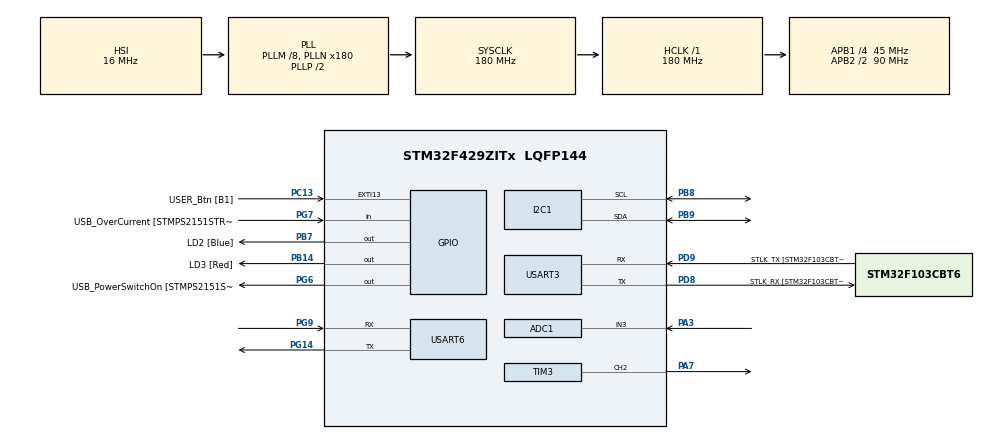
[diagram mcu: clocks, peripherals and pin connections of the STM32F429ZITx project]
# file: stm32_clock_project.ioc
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ADC1.Channel-0\#ChannelRegularConversion=ADC_CHANNEL_3
ADC1.DiscontinuousConvMode=DISABLE
ADC1.ExternalTrigConv=ADC_SOFTWARE_START
ADC1.ExternalTrigConvEdge=ADC_EXTERNALTRIGCONVEDGE_NONE
ADC1.NbrOfConversionFlag=1
ADC1.Rank-0\#ChannelRegularConversion=1
ADC1.SamplingTime-0\#ChannelRegularConversion=ADC_SAMPLETIME_3CYCLES
ADC1.ScanConvMode=DISABLE
ADC1.master=1
Mcu.Family=STM32F4
Mcu.Name=STM32F429ZITx
Mcu.Package=LQFP144
NVIC.EXTI15_10_IRQn=true\:0\:0\:false\:true\:true\:1\:true\:true
NVIC.PriorityGroup=NVIC_PRIORITYGROUP_4
NVIC.TIM2_IRQn=true\:0\:0\:false\:true\:true\:2\:true\:true
NVIC.TIM4_IRQn=true\:0\:0\:false\:true\:true\:3\:true\:true
NVIC.USART3_IRQn=true\:0\:0\:false\:true\:true\:5\:true\:true
NVIC.USART6_IRQn=true\:0\:0\:false\:true\:true\:4\:true\:true
PA1.GPIO_Label=RMII_REF_CLK [LAN8742A-CZ-TR_REFCLK0]
PA1.Signal=ETH_REF_CLK
PA10.GPIO_Label=USB_ID
PA10.Signal=USB_OTG_FS_ID
PA11.GPIO_Label=USB_DM
PA11.Signal=USB_OTG_FS_DM
PA12.GPIO_Label=USB_DP
PA12.Signal=USB_OTG_FS_DP
PA13.GPIO_Label=TMS
PA13.Mode=Serial_Wire
PA13.Signal=SYS_JTMS-SWDIO
PA14.GPIO_Label=TCK
PA14.Mode=Serial_Wire
PA14.Signal=SYS_JTCK-SWCLK
PA2.GPIO_Label=RMII_MDIO [LAN8742A-CZ-TR_MDIO]
PA2.Signal=ETH_MDIO
PA3.Signal=ADCx_IN3
PA7.Signal=S_TIM3_CH2
PA8.GPIO_Label=USB_SOF [TP1]
PA8.Signal=USB_OTG_FS_SOF
PA9.GPIO_Label=USB_VBUS
PA9.Signal=USB_OTG_FS_VBUS
PB0.Signal=S_TIM3_CH3
PB13.GPIO_Label=RMII_TXD1 [LAN8742A-CZ-TR_TXD1]
PB13.Signal=ETH_TXD1
PB14.GPIO_Label=LD3 [Red]
PB14.Signal=GPIO_Output
PB7.GPIO_Label=LD2 [Blue]
PB7.Signal=GPIO_Output
PB8.GPIO_Pu=GPIO_PULLUP
PB8.Mode=I2C
PB8.Signal=I2C1_SCL
PB9.GPIO_Pu=GPIO_PULLUP
PB9.Mode=I2C
PB9.Signal=I2C1_SDA
PC1.GPIO_Label=RMII_MDC [LAN8742A-CZ-TR_MDC]
PC1.Signal=ETH_MDC
PC13.GPIO_Label=USER_Btn [B1]
PC13.GPIO_ModeDefaultEXTI=GPIO_MODE_IT_RISING_FALLING
PC13.Signal=GPXTI13
PC14/OSC32_IN.Mode=LSE-External-Oscillator
PC14/OSC32_IN.Signal=RCC_OSC32_IN
PC15/OSC32_OUT.Mode=LSE-External-Oscillator
PC15/OSC32_OUT.Signal=RCC_OSC32_OUT
PC4.GPIO_Label=RMII_RXD0 [LAN8742A-CZ-TR_RXD0]
PC4.Signal=ETH_RXD0
PC5.GPIO_Label=RMII_RXD1 [LAN8742A-CZ-TR_RXD1]
PC5.Signal=ETH_RXD1
PD8.GPIO_Label=STLK_RX [STM32F103CBT6_PA3]
PD8.Mode=Asynchronous
PD8.Signal=USART3_TX
PD9.GPIO_Label=STLK_TX [STM32F103CBT6_PA2]
PD9.Mode=Asynchronous
PD9.Signal=USART3_RX
PG11.GPIO_Label=RMII_TX_EN [LAN8742A-CZ-TR_TXEN]
PG11.Signal=ETH_TX_EN
PG13.GPIO_Label=RMII_TXD0 [LAN8742A-CZ-TR_TXD0]
PG13.Signal=ETH_TXD0
PG14.Mode=Asynchronous
PG14.Signal=USART6_TX
PG6.GPIO_Label=USB_PowerSwitchOn [STMPS2151STR_EN]
PG6.Signal=GPIO_Output
PG7.GPIO_Label=USB_OverCurrent [STMPS2151STR_FAULT]
PG7.Signal=GPIO_Input
PG9.Mode=Asynchronous
PG9.Signal=USART6_RX
PH0/OSC_IN.GPIO_Label=MCO [STM32F103CBT6_PA8]
PH0/OSC_IN.Mode=HSE-External-Clock-Source
PH0/OSC_IN.Signal=RCC_OSC_IN
PH1/OSC_OUT.Mode=HSE-External-Clock-Source
PH1/OSC_OUT.Signal=RCC_OSC_OUT
ProjectManager.HeapSize=0x200
ProjectManager.StackSize=0x400
ProjectManager.TargetToolchain=STM32CubeIDE
RCC.48MHZClocksFreq_Value=51428571.428571425
RCC.AHBFreq_Value=180000000
RCC.APB1CLKDivider=RCC_HCLK_DIV4
RCC.APB1Freq_Value=45000000
RCC.APB1TimFreq_Value=90000000
RCC.APB2CLKDivider=RCC_HCLK_DIV2
RCC.APB2Freq_Value=90000000
RCC.APB2TimCLKDivider=2
RCC.APB2TimFreq_Value=180000000
RCC.CortexFreq_Value=180000000
RCC.HCLKFreq_Value=180000000
RCC.HSE_VALUE=8000000
RCC.HSI_VALUE=16000000
RCC.PLLM=8
RCC.PLLMUL=RCC_PLL_MUL9
RCC.PLLN=180
RCC.PLLQ=7
RCC.PRESCALERUSB=RCC_USBCLKSOURCE_PLL_DIV1_5
RCC.RCC_RTC_Clock_Source=RCC_RTCCLKSOURCE_LSE
RCC.RCC_RTC_Clock_SourceVirtual=RCC_RTCCLKSOURCE_LSE
RCC.SYSCLKFreq_VALUE=180000000
RCC.SYSCLKSource=RCC_SYSCLKSOURCE_PLLCLK
RCC.SYSCLKSourceVirtual=RCC_SYSCLKSOURCE_PLLCLK
RCC.USBFreq_Value=48000000
RCC.VCOOutputFreq_Value=360000000
SH.ADCx_IN3.0=ADC1_IN3,IN3
SH.S_TIM3_CH2.0=TIM3_CH2,PWM Generation2 CH2
SH.S_TIM3_CH3.0=TIM3_CH3
TIM2.Period=1000
TIM2.Prescaler=900
TIM3.AutoReloadPreload=TIM_AUTORELOAD_PRELOAD_ENABLE
TIM3.Channel-PWM\ Generation2\ CH2=TIM_CHANNEL_2
TIM3.Period=200-1
TIM3.Prescaler=90-1
TIM4.Period=200
TIM4.Prescaler=9000
USART3.VirtualMode=VM_ASYNC
USART6.VirtualMode=VM_ASYNC
VP_RTC_VS_RTC_Activate.Mode=RTC_Enabled
VP_TIM2_VS_ClockSourceINT.Mode=Internal
VP_TIM3_VS_ClockSourceINT.Mode=Internal
VP_TIM4_VS_ClockSourceINT.Mode=Internal
board=NUCLEO-F429ZI

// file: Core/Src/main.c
/* USER CODE BEGIN Header */
/**
  ******************************************************************************
  * @file           : main.c
  * @brief          : Main program body
  ******************************************************************************
  * @attention
  *
  * Copyright (c) 2022 STMicroelectronics.
  * All rights reserved.
  *
  * This software is licensed under terms that can be found in the LICENSE file
  * in the root directory of this software component.
  * If no LICENSE file comes with this software, it is provided AS-IS.
  *
  ******************************************************************************
  */
/* USER CODE END Header */
#include "main.h"

/* USER CODE BEGIN Includes */
#include <stdio.h>
#include <string.h>
#include "lcd.h"
#include "key_interval_main.h"
#include "key_value_main.h"
#include "music.h"
/* USER CODE END Includes */

/* USER CODE BEGIN PTD */
typedef struct{
	int8_t hours;
	int8_t minutes;
	int8_t seconds;
}TimeTypeDef;

typedef struct{
  int32_t time;
  GPIO_PinState level;
}ClickInfoDef;

/* USER CODE END PTD */

/* USER CODE BEGIN PD */
enum CLOCK_MODE{
	NORMAL_STATE,
	TIME_SETTING,
	ALARM_TIME_SETTING,
	MUSIC_SELECT
};

enum CLOCK_BUTTON{
	UP,
	DOWN,
	RIGHT,
	LEFT,
	NO_KEY
};

struct clock_state{
	enum CLOCK_MODE mode;
	enum CLOCK_BUTTON button;
	uint8_t music_num;
};

struct clock_state current_state;

/* Base address of the Flash sectors Bank 1 */
#define ADDR_FLASH_SECTOR_0     ((uint32_t)0x08000000) /* Base @ of Sector 0, 16 Kbytes */
#define ADDR_FLASH_SECTOR_1     ((uint32_t)0x08004000) /* Base @ of Sector 1, 16 Kbytes */
#define ADDR_FLASH_SECTOR_2     ((uint32_t)0x08008000) /* Base @ of Sector 2, 16 Kbytes */
#define ADDR_FLASH_SECTOR_3     ((uint32_t)0x0800C000) /* Base @ of Sector 3, 16 Kbytes */
#define ADDR_FLASH_SECTOR_4     ((uint32_t)0x08010000) /* Base @ of Sector 4, 64 Kbytes */
#define ADDR_FLASH_SECTOR_5     ((uint32_t)0x08020000) /* Base @ of Sector 5, 128 Kbytes */
#define ADDR_FLASH_SECTOR_6     ((uint32_t)0x08040000) /* Base @ of Sector 6, 128 Kbytes */
#define ADDR_FLASH_SECTOR_7     ((uint32_t)0x08060000) /* Base @ of Sector 7, 128 Kbytes */
#define ADDR_FLASH_SECTOR_8     ((uint32_t)0x08080000) /* Base @ of Sector 8, 128 Kbytes */
#define ADDR_FLASH_SECTOR_9     ((uint32_t)0x080A0000) /* Base @ of Sector 9, 128 Kbytes */
#define ADDR_FLASH_SECTOR_10    ((uint32_t)0x080C0000) /* Base @ of Sector 10, 128 Kbytes */
#define ADDR_FLASH_SECTOR_11    ((uint32_t)0x080E0000) /* Base @ of Sector 11, 128 Kbytes */

/* Base address of the Flash sectors Bank 2 */
#define ADDR_FLASH_SECTOR_12     ((uint32_t)0x08100000) /* Base @ of Sector 0, 16 Kbytes */
#define ADDR_FLASH_SECTOR_13     ((uint32_t)0x08104000) /* Base @ of Sector 1, 16 Kbytes */
#define ADDR_FLASH_SECTOR_14     ((uint32_t)0x08108000) /* Base @ of Sector 2, 16 Kbytes */
#define ADDR_FLASH_SECTOR_15     ((uint32_t)0x0810C000) /* Base @ of Sector 3, 16 Kbytes */
#define ADDR_FLASH_SECTOR_16     ((uint32_t)0x08110000) /* Base @ of Sector 4, 64 Kbytes */
#define ADDR_FLASH_SECTOR_17     ((uint32_t)0x08120000) /* Base @ of Sector 5, 128 Kbytes */
#define ADDR_FLASH_SECTOR_18     ((uint32_t)0x08140000) /* Base @ of Sector 6, 128 Kbytes */
#define ADDR_FLASH_SECTOR_19     ((uint32_t)0x08160000) /* Base @ of Sector 7, 128 Kbytes */
#define ADDR_FLASH_SECTOR_20     ((uint32_t)0x08180000) /* Base @ of Sector 8, 128 Kbytes  */
#define ADDR_FLASH_SECTOR_21     ((uint32_t)0x081A0000) /* Base @ of Sector 9, 128 Kbytes  */
#define ADDR_FLASH_SECTOR_22     ((uint32_t)0x081C0000) /* Base @ of Sector 10, 128 Kbytes */
#define ADDR_FLASH_SECTOR_23     ((uint32_t)0x081E0000) /* Base @ of Sector 11, 128 Kbytes */

#define MAGIC_NUM 0xdeadbeef

typedef struct {
  uint32_t magic_num;
  TimeTypeDef setting_time;
  TimeTypeDef alarm_time;
  int8_t alarm_music_num;
}NVitemTypeDef;

#define nv_items  ((NVitemTypeDef *) ADDR_FLASH_SECTOR_23)

NVitemTypeDef default_nvitem =
{
  MAGIC_NUM,
  {0,0,0},
  {0,0,0},
  0
};

MusicTypeDef alarm_music[] =
{
  {0,"School bell  "},
  {1,"Beep         "},
  {2,"Airplane  "},
};

#define MEL_NUM	24

uint8_t musicOn = 0;

_BUZZER schoolBell[MEL_NUM] = {
		{G, 1}, {G, 1}, {A, 1}, {A, 1}, // 4
		{G, 1}, {G, 1}, {E, 2}, // 3
		{G, 1}, {G, 1}, {E, 1}, {E, 1}, {D, 3}, // 5
		{G, 1}, {G, 1}, {A, 1}, {A, 1}, // 4
		{G, 1}, {G, 1}, {E, 2}, // 3
		{G, 1}, {E, 1}, {D, 1}, {E, 1}, {C, 3} // 5
};

_BUZZER beep[MEL_NUM] = {
		{A, 3}, {A, 3}, {A, 3}, {A, 3}, // 4
		{A, 3}, {A, 3}, {A, 3}, // 3
		{A, 3}, {A, 3}, {A, 3}, {A, 3}, {A, 3}, // 5
		{A, 3}, {A, 3}, {A, 3}, {A, 3}, // 4
		{A, 3}, {A, 3}, {A, 3}, // 3
		{A, 3}, {A, 3}, {A, 3}, {A, 3}, {A, 3} // 5
};

_BUZZER airplane[MEL_NUM + 1] = {
		{E, 1}, {D, 1}, {C, 1}, {D, 1}, // 4
		{E, 1}, {E, 1}, {E, 2}, // 3
		{D, 1}, {D, 1}, {D, 2}, {E, 1}, {E, 1}, // 5
		{E, 2}, {E, 1}, {D, 1}, {C, 1}, // 4
		{D, 1}, {E, 1}, {E, 1}, // 3
		{E, 2}, {D, 1}, {D, 1}, {E, 1}, {D, 1}, {C, 4} // 6
};
/* USER CODE END PD */

ADC_HandleTypeDef hadc1;

I2C_HandleTypeDef hi2c1;

RTC_HandleTypeDef hrtc;

TIM_HandleTypeDef htim2;
TIM_HandleTypeDef htim3;
TIM_HandleTypeDef htim4;

UART_HandleTypeDef huart3;
UART_HandleTypeDef huart6;

void SystemClock_Config(void);
static void MX_GPIO_Init(void);
static void MX_USART3_UART_Init(void);
static void MX_RTC_Init(void);
static void MX_I2C1_Init(void);
static void MX_ADC1_Init(void);
static void MX_TIM2_Init(void);
static void MX_TIM3_Init(void);
static void MX_TIM4_Init(void);
static void MX_USART6_UART_Init(void);
static void MX_NVIC_Init(void);
/* USER CODE BEGIN PFP */
void MUSIC_Play(_BUZZER music[]);
void ALARM_Check();
/* USER CODE END PFP */

/* USER CODE BEGIN 0 */
#ifdef __GNUC__
  /* With GCC, small printf (option LD Linker->Libraries->Small printf
     set to 'Yes') calls __io_putchar() */
  #define PUTCHAR_PROTOTYPE int __io_putchar(int ch)
#else
  #define PUTCHAR_PROTOTYPE int fputc(int ch, FILE *f)
#endif /* __GNUC__ */

ClickInfoDef click[3];  //pc13 use button history save
TimeTypeDef ctime;  //current time
TimeTypeDef stime = {0,0,0};  //set time
TimeTypeDef atime = {0,0,0};  //alarm time
char ampm[3] = {'A','M'};  //AM, PM
uint8_t alFlag = 0;  //Alarm on/off
int8_t position = 0;  //Time setting cursor position
uint8_t seq = 0;  //Music play 음표
uint8_t stop = 0;  //음악 재생시 음과 음 사이 구분
int8_t pos = 0;  //music select menu position
uint8_t key_value;  //bluetooth signal receive
volatile int timer_count;
uint32_t ADC_value;  //ADC button value get
uint32_t last_time,current_time,time_interval, last_time_interval;  //pc13 user button separate select, double click, long key

HAL_StatusTypeDef update_nvitems()  //Flash rom save
{
	uint32_t FirstSector,NbOfSectors,SECTORError;
	FLASH_EraseInitTypeDef EraseInitStruct;
	HAL_StatusTypeDef error= HAL_OK;
    uint32_t Address,i;
    uint64_t Data;
    uint8_t *ptr;

	HAL_FLASH_Unlock();
	FirstSector = FLASH_SECTOR_23;
	NbOfSectors = 1;

	EraseInitStruct.TypeErase     = FLASH_TYPEERASE_SECTORS;
	EraseInitStruct.VoltageRange  = FLASH_VOLTAGE_RANGE_3;
	EraseInitStruct.Sector        = FirstSector;
	EraseInitStruct.NbSectors     = NbOfSectors;

	error = HAL_FLASHEx_Erase(&EraseInitStruct, &SECTORError);
	if(error != HAL_OK)
	{
		return error;
	}

	ptr = (uint8_t*)&default_nvitem;

	for(i=0;i<sizeof(NVitemTypeDef);i++)
	{
		Address = (uint8_t*)nv_items + i;
		Data = *((uint8_t*)ptr+ i);
		error =	HAL_FLASH_Program(FLASH_TYPEPROGRAM_BYTE,Address,Data);
		if(error != HAL_OK)
		{
			return error;
		}
	}

	HAL_FLASH_Lock();
}

void _60_Cvt(TimeTypeDef* time)  //Time converter
{
	if(time->seconds > 59)
	{
		time->minutes++;
		time->seconds = 0;
	}
	else if(time->seconds < 0)
	{
		time->minutes--;
		time->seconds = 59;
	}

	if(time->minutes > 59)
	{
		time->hours++;
		time->minutes = 0;
	}
	else if(time->minutes < 0)
	{
		time->hours--;
		time->minutes = 59;
	}

	if(time->hours > 23)
	{
		time->hours = 0;
	}
	else if(time->hours < 0)
	{
		time->hours = 23;
	}

	if(time->hours < 12)
	{
		ampm[0] = 'A';
	}
	else if(time->hours >= 12)
	{
		ampm[0] = 'P';
	}
}

void HAL_TIM_PeriodElapsedCallback(TIM_HandleTypeDef *htim)
{
	if(htim->Instance == TIM2)  //time ++
	{
		if((timer_count % 100) == 0)
		{
			ctime.seconds++;
			_60_Cvt(&ctime);
		}
		timer_count++;
	}

	ALARM_Check();

	if(htim->Instance == TIM4)  //music play
	{
		if(alFlag == 1 && musicOn == 1)
		{
			switch(default_nvitem.alarm_music_num)
			{
			case 0:
				MUSIC_Play(schoolBell);
				break;
			case 1:
				MUSIC_Play(beep);
				break;
			case 2:
				MUSIC_Play(airplane);
				break;
			default:
				break;
			}
		}
	}

}

void Select_Key()  //Select operate
{
	if(current_state.mode == NORMAL_STATE)
	{
		if(musicOn == 0) current_state.mode = TIME_SETTING;
		else
		{
			musicOn = 0;
			seq = 0;
			stop = 0;
			HAL_TIM_PWM_Stop(&htim3, TIM_CHANNEL_2);
		}
	}

	else
	{
		if(current_state.mode == TIME_SETTING)
		{
			memcpy(&default_nvitem.setting_time, &stime, sizeof(TimeTypeDef));
			update_nvitems();
			memcpy(&ctime, &default_nvitem.setting_time, sizeof(TimeTypeDef));
			position = 0;
			current_state.mode = NORMAL_STATE;
		}
		if(current_state.mode == ALARM_TIME_SETTING)
		{
			memcpy(&default_nvitem.alarm_time, &atime, sizeof(TimeTypeDef));
			update_nvitems();
			position = 0;
			current_state.mode = NORMAL_STATE;
		}
		if(current_state.mode == MUSIC_SELECT)
		{

			memcpy(&default_nvitem.alarm_music_num, &alarm_music[pos].music_num, sizeof(uint8_t));
			update_nvitems();
			current_state.mode = NORMAL_STATE;
		}
	}
}
void Long_Key()  //Long key operate
{
	if(current_state.mode == NORMAL_STATE)
	{
		alFlag = 1;
		current_state.mode = ALARM_TIME_SETTING;
	}
}
void Double_Click()  //Double click operate
{
	if(current_state.mode == NORMAL_STATE)
	{
		current_state.mode = MUSIC_SELECT;
	}
	if(current_state.mode == ALARM_TIME_SETTING)
	{
		if(alFlag == 0)	alFlag = 1;
		else if(alFlag == 1) alFlag = 0;
	}
	if(current_state.mode == TIME_SETTING)
	{
		current_state.mode = NORMAL_STATE;
	}
}

void HAL_GPIO_EXTI_Callback(uint16_t GPIO_Pin)  //User key
{
	GPIO_PinState pin;
	int i;

	if(GPIO_Pin == GPIO_PIN_13)
	{
		current_time = HAL_GetTick();
		time_interval = current_time - last_time;
		last_time = current_time;

		pin = HAL_GPIO_ReadPin(GPIOC,GPIO_PIN_13);

		//printf("<%d,%d>\r\n",pin,time_interval);

		if(time_interval <= 2) // noise
		{
			//printf("Noise %d,%d\r\n",pin,time_interval);
		}
		else
		{
			click[2].time = click[1].time;
			click[2].level = click[1].level;

			click[1].time = click[0].time;
			click[1].level = click[0].level;

			click[0].time = time_interval;
			click[0].level = pin;

			if(click[2].level == GPIO_PIN_RESET && click[1].level == GPIO_PIN_SET &&  click[0].level ==GPIO_PIN_RESET)
			{
				for(i=0;i<3;i++)
				{
					if(click[i].time>= DOUBLE_CLICK_MIN && click[i].time <= DOUBLE_CLICK_MAX)
					{
						continue;
					}
					else
						break;
				}
				if(i==3)
				{
					Double_Click();
					//printf("Double Click\r\n");
				}
			}

			if(click[0].level == GPIO_PIN_RESET && click[0].time >=LONG_CLICK_MIN) // long click
			{
				Long_Key();
				//printf("Long Key\r\n");
			}
			if(click[0].level == GPIO_PIN_RESET && click[0].time < LONG_CLICK_MIN && click[0].time > DOUBLE_CLICK_MAX)
			{
				Select_Key();
				//printf("Select Key, %d\r\n",click[0].time);
			}
		}
	}
}

void LCD_Blink(TimeTypeDef* time, char str[17])  //Setting mode blink
{
	static int8_t blinkFlag = 0;
	static volatile int old_timer_count;

	if(timer_count - old_timer_count > 40)
	{
		if(blinkFlag == 0) blinkFlag = 1;
		else if(blinkFlag == 1) blinkFlag = 0;
		old_timer_count = timer_count;
	}

	_60_Cvt(time);

	if(current_state.mode == TIME_SETTING || (current_state.mode == ALARM_TIME_SETTING && alFlag == 0))
	{
		if(time->hours <= 12)
		{
			if(blinkFlag == 0) sprintf(str,"%s %02d:%02d:%02d     ", ampm, time->hours, time->minutes, time->seconds);
			else if (blinkFlag == 1)
			{
				if(position == 0) sprintf(str,"__ %02d:%02d:%02d     ",time->hours, time->minutes, time->seconds);
				else if(position == 1) sprintf(str,"%s __:%02d:%02d     ", ampm, time->minutes, time->seconds);
				else if(position == 2) sprintf(str,"%s %02d:__:%02d     ", ampm, time->hours, time->seconds);
				else if(position == 3) sprintf(str,"%s %02d:%02d:__     ", ampm, time->hours, time->minutes);
			}
		}
		else if(time->hours > 12)
		{
			if(blinkFlag == 0) sprintf(str,"%s %02d:%02d:%02d     ", ampm, time->hours-12, time->minutes, time->seconds);
			else if (blinkFlag == 1)
			{
				if(position == 0) sprintf(str,"__ %02d:%02d:%02d     ",time->hours-12, time->minutes, time->seconds);
				else if(position == 1) sprintf(str,"%s __:%02d:%02d     ", ampm, time->minutes, time->seconds);
				else if(position == 2) sprintf(str,"%s %02d:__:%02d     ", ampm, time->hours-12, time->seconds);
				else if(position == 3) sprintf(str,"%s %02d:%02d:__     ", ampm, time->hours-12, time->minutes);
			}
		}
	}

	else if(current_state.mode == ALARM_TIME_SETTING && alFlag == 1)
	{
		if(time->hours <= 12)
		{
			if(blinkFlag == 0) sprintf(str,"%s %02d:%02d:%02d AL", ampm, time->hours, time->minutes, time->seconds);
			else if (blinkFlag == 1)
			{
				if(position == 0) sprintf(str,"__ %02d:%02d:%02d AL",time->hours, time->minutes, time->seconds);
				else if(position == 1) sprintf(str,"%s __:%02d:%02d AL", ampm, time->minutes, time->seconds);
				else if(position == 2) sprintf(str,"%s %02d:__:%02d AL", ampm, time->hours, time->seconds);
				else if(position == 3) sprintf(str,"%s %02d:%02d:__ AL", ampm, time->hours, time->minutes);
			}
		}
		else if(time->hours > 12)
		{
			if(blinkFlag == 0) sprintf(str,"%s %02d:%02d:%02d AL", ampm, time->hours-12, time->minutes, time->seconds);
			else if (blinkFlag == 1)
			{
				if(position == 0) sprintf(str,"__ %02d:%02d:%02d AL",time->hours-12, time->minutes, time->seconds);
				else if(position == 1) sprintf(str,"%s __:%02d:%02d AL", ampm, time->minutes, time->seconds);
				else if(position == 2) sprintf(str,"%s %02d:__:%02d AL", ampm, time->hours-12, time->seconds);
				else if(position == 3) sprintf(str,"%s %02d:%02d:__ AL", ampm, time->hours-12, time->minutes);
			}
		}
	}
}

void TIME_Setting(TimeTypeDef* time, char str[17])  //Settin mode
{
	switch(current_state.button)  //ADC button operate
	{
	case UP:
		if(position == 0)
		{
			if(time->hours < 12) time->hours += 12;
			else time->hours -= 12;
		}
		if(position == 1) time->hours++;
		if(position == 2) time->minutes++;
		if(position == 3) time->seconds++;
		break;
	case DOWN:
		if(position == 0)
		{
			if(time->hours < 12) time->hours += 12;
			else time->hours -= 12;
		}
		if(position == 1) time->hours--;
		if(position == 2) time->minutes--;
		if(position == 3) time->seconds--;
		break;
	case LEFT:
		position--;
		if(position < 0) position = 3;
		break;
	case RIGHT:
		position++;
		if(position > 3) position = 0;
		break;
	default:
		current_state.button = NO_KEY;
		break;
	}

	if(current_state.mode == TIME_SETTING || current_state.mode == ALARM_TIME_SETTING)
	{
		LCD_Blink(time, str);
	}
}

void MUSIC_Select(char line1[17], char line2[17])  //Music select mode
{
	uint8_t count;

	pos = current_state.music_num;
	count = sizeof(alarm_music)/sizeof(alarm_music[0]);  //total music count

	switch(current_state.button)
	{
	case UP:
		pos++;
		if(pos == count)
		{
			pos = 0;
		}
		break;
	case DOWN:
		pos--;
		if(pos < 0)
		{
			pos = count - 1;
		}
		break;
	default:

		break;
	}
	current_state.music_num =  pos;

	if(pos <= count-2)
	{
		sprintf(line1,"%s <<",alarm_music[pos].music_title);  // "<" mark is selected music title
		sprintf(line2,"%s   ",alarm_music[pos+1].music_title);
	}
	else
	{
		sprintf(line1,"%s   ",alarm_music[pos].music_title);
		sprintf(line2,"%s   ",alarm_music[0].music_title);
	}
}

void _12_Cvt(TimeTypeDef* time, char str[17])  //12시제 컨버터
{
	if(alFlag == 0)
	{
		if(time->hours <= 12)
		{
			sprintf(str,"%s %02d:%02d:%02d     ",ampm, time->hours, time->minutes, time->seconds);
		}
		else if(time->hours > 12)
		{
			sprintf(str,"%s %02d:%02d:%02d     ",ampm, time->hours-12, time->minutes, time->seconds);
		}
	}
	else if(alFlag == 1)
	{
		if(time->hours <= 12)
		{
			sprintf(str,"%s %02d:%02d:%02d AL",ampm, time->hours, time->minutes, time->seconds);
		}
		else if(time->hours > 12)
		{
			sprintf(str,"%s %02d:%02d:%02d AL",ampm, time->hours-12, time->minutes, time->seconds);
		}
	}
}

void LCD_Display()  //Display
{
	char time_str[17];
	char mode_str[17];

	switch(current_state.mode)
	{
	case NORMAL_STATE:
		_12_Cvt(&ctime, time_str);
		sprintf(mode_str,"LEE ALARM CLOCK ");
		break;
	case TIME_SETTING:
		sprintf(mode_str,"TIME SET MODE   ");
		TIME_Setting(&stime, time_str);
		break;
	case ALARM_TIME_SETTING:
		sprintf(mode_str,"ALARM SET MODE  ");
		TIME_Setting(&atime, time_str);
		break;
	case MUSIC_SELECT:
		MUSIC_Select(mode_str, time_str);
		break;
	default:
		current_state.mode = NORMAL_STATE;
		break;
	}
	LCD_Print(0, mode_str);
	LCD_Print(1, time_str);
}

void ADC_Button()  //ADC button operate
{
	HAL_ADC_Start(&hadc1);
	if(HAL_ADC_PollForConversion(&hadc1,20) == HAL_OK) ADC_value = HAL_ADC_GetValue(&hadc1);
	if(ADC_value <= UP_KEY_MAX || key_value == 1)
	{
		current_state.button = UP;
		key_value = 0;
		//printf("UP\r\n");
	}
	else if((ADC_value>= DOWN_KEY_MIN && ADC_value<=DOWN_KEY_MAX) || key_value == 2)
	{
		current_state.button = DOWN;
		key_value = 0;
		//printf("DOWN\r\n");
	}
	else if((ADC_value>= LEFT_KEY_MIN && ADC_value<=LEFT_KEY_MAX) || key_value == 3)
    {
    	current_state.button = LEFT;
    	key_value = 0;
    	//printf("LEFT\r\n");
    }
	else if((ADC_value>= RIGHT_KEY_MIN && ADC_value<=RIGHT_KEY_MAX) || key_value == 4)
    {
    	current_state.button = RIGHT;
    	key_value = 0;
    	//printf("RIGHT\r\n");
    }
	else
	{
		current_state.button = NO_KEY;
	}
}

void TIME_Init()  //Time initiate
{
	if(nv_items->magic_num == MAGIC_NUM) //
	{
		memcpy(&default_nvitem,nv_items,sizeof(NVitemTypeDef));
	    ctime.hours = default_nvitem.setting_time.hours;
		ctime.minutes = default_nvitem.setting_time.minutes;
		ctime.seconds = default_nvitem.setting_time.seconds;

	    stime.hours = default_nvitem.setting_time.hours;
		stime.minutes = default_nvitem.setting_time.minutes;
		stime.seconds = default_nvitem.setting_time.seconds;

	    atime.hours = default_nvitem.alarm_time.hours;
		atime.minutes = default_nvitem.alarm_time.minutes;
		atime.seconds = default_nvitem.alarm_time.seconds;

		current_state.mode = NORMAL_STATE;
	}
	else
	{
		current_state.mode = TIME_SETTING;
	}
	_60_Cvt(&ctime);
}

void MUSIC_Play(_BUZZER music[])  //Play music
{
	uint16_t melody = (uint16_t)(1000000 / music[seq].freq);
	uint8_t num = 0;

	if(default_nvitem.alarm_music_num == 0) num = MEL_NUM;
	else if(default_nvitem.alarm_music_num == 1) num = MEL_NUM;
	else if(default_nvitem.alarm_music_num == 2) num = MEL_NUM+1;

	if(stop == 1)
	{
		TIM4->ARR = 2000;
		HAL_TIM_PWM_Stop(&htim3, TIM_CHANNEL_2);
		stop = 0;
	}
	else
	{
		if(seq == num)
		{
			seq = 0;
		}
		else
		{
			TIM3->ARR = melody;
			TIM3->CCR2 = melody / 2;
			TIM4->ARR = music[seq].delay * 2000;
			HAL_TIM_PWM_Start(&htim3, TIM_CHANNEL_2);
			stop = 1;

			seq++;
			HAL_GPIO_TogglePin(GPIOB, GPIO_PIN_7);
		}
	}
}

void ALARM_Check()  //Alarm check
{
	if(ctime.seconds == atime.seconds && ctime.minutes == atime.minutes && ctime.hours == atime.hours)
	{
		if(alFlag == 1) musicOn = 1;
	}
	HAL_UART_Transmit_IT(&huart6,(uint8_t*)&musicOn,sizeof(musicOn));
}

void BT_Button()  //bluetooth button operate (pc13 User button)
{
	if(key_value > 4)
	{
		switch(key_value)
		{
		case 5:
			Select_Key();
			break;
		case 6:
			Long_Key();
			break;
		case 7:
			Double_Click();
			break;
		case 8:
			Select_Key();
			break;
		case 9:
			Double_Click();
			break;
		case 10:
			if(musicOn == 1) Select_Key();
			break;
		default:
			break;
		}
		key_value = 0;
	}
}

void HAL_UART_RxCpltCallback(UART_HandleTypeDef *huart)
{
	if(huart->Instance == USART6)  //bluetooth signal get.(0 = no_key, 1~4 = ADC key, 5~10 = pc13 user button)
	{
		/* Receive one byte in interrupt mode */
		BT_Button();
		HAL_UART_Receive_IT(&huart6, &key_value, 1);
	}
}

/* USER CODE END 0 */

int main(void)
{

  /* MCU Configuration--------------------------------------------------------*/

  /* Reset of all peripherals, Initializes the Flash interface and the Systick. */
  HAL_Init();

  /* Configure the system clock */
  SystemClock_Config();

  /* Initialize all configured peripherals */
  MX_GPIO_Init();
  MX_USART3_UART_Init();
  MX_RTC_Init();
  MX_I2C1_Init();
  MX_ADC1_Init();
  MX_TIM2_Init();
  MX_TIM3_Init();
  MX_TIM4_Init();
  MX_USART6_UART_Init();

  /* Initialize interrupts */
  MX_NVIC_Init();
  /* USER CODE BEGIN 2 */
  HAL_TIM_Base_Init(&htim2);
  HAL_TIM_Base_Start_IT(&htim2);
  HAL_TIM_Base_Start_IT(&htim4);
  //HAL_TIM_PWM_Start(&htim3, TIM_CHANNEL_2);
  HAL_UART_Receive_IT(&huart6,&key_value,1);
  init();  //lcd initiate
  TIME_Init();

  /* USER CODE END 2 */

  /* Infinite loop */
  while (1)
  {

    /* USER CODE BEGIN 3 */
	  ADC_Button();
	  LCD_Display();

  }
  /* USER CODE END 3 */
}

void SystemClock_Config(void)
{
  RCC_OscInitTypeDef RCC_OscInitStruct = {0};
  RCC_ClkInitTypeDef RCC_ClkInitStruct = {0};

  /** Configure the main internal regulator output voltage
  */
  __HAL_RCC_PWR_CLK_ENABLE();
  __HAL_PWR_VOLTAGESCALING_CONFIG(PWR_REGULATOR_VOLTAGE_SCALE1);
  /** Initializes the RCC Oscillators according to the specified parameters
  * in the RCC_OscInitTypeDef structure.
  */
  RCC_OscInitStruct.OscillatorType = RCC_OSCILLATORTYPE_HSI|RCC_OSCILLATORTYPE_LSE;
  RCC_OscInitStruct.LSEState = RCC_LSE_ON;
  RCC_OscInitStruct.HSIState = RCC_HSI_ON;
  RCC_OscInitStruct.HSICalibrationValue = RCC_HSICALIBRATION_DEFAULT;
  RCC_OscInitStruct.PLL.PLLState = RCC_PLL_ON;
  RCC_OscInitStruct.PLL.PLLSource = RCC_PLLSOURCE_HSI;
  RCC_OscInitStruct.PLL.PLLM = 8;
  RCC_OscInitStruct.PLL.PLLN = 180;
  RCC_OscInitStruct.PLL.PLLP = RCC_PLLP_DIV2;
  RCC_OscInitStruct.PLL.PLLQ = 7;
  if (HAL_RCC_OscConfig(&RCC_OscInitStruct) != HAL_OK)
  {
    Error_Handler();
  }
  /** Activate the Over-Drive mode
  */
  if (HAL_PWREx_EnableOverDrive() != HAL_OK)
  {
    Error_Handler();
  }
  /** Initializes the CPU, AHB and APB buses clocks
  */
  RCC_ClkInitStruct.ClockType = RCC_CLOCKTYPE_HCLK|RCC_CLOCKTYPE_SYSCLK
                              |RCC_CLOCKTYPE_PCLK1|RCC_CLOCKTYPE_PCLK2;
  RCC_ClkInitStruct.SYSCLKSource = RCC_SYSCLKSOURCE_PLLCLK;
  RCC_ClkInitStruct.AHBCLKDivider = RCC_SYSCLK_DIV1;
  RCC_ClkInitStruct.APB1CLKDivider = RCC_HCLK_DIV4;
  RCC_ClkInitStruct.APB2CLKDivider = RCC_HCLK_DIV2;

  if (HAL_RCC_ClockConfig(&RCC_ClkInitStruct, FLASH_LATENCY_5) != HAL_OK)
  {
    Error_Handler();
  }
}

/**
  * @brief NVIC Configuration.
  * @retval None
  */
static void MX_NVIC_Init(void)
{
  /* EXTI15_10_IRQn interrupt configuration */
  HAL_NVIC_SetPriority(EXTI15_10_IRQn, 0, 0);
  HAL_NVIC_EnableIRQ(EXTI15_10_IRQn);
  /* TIM2_IRQn interrupt configuration */
  HAL_NVIC_SetPriority(TIM2_IRQn, 0, 0);
  HAL_NVIC_EnableIRQ(TIM2_IRQn);
  /* TIM4_IRQn interrupt configuration */
  HAL_NVIC_SetPriority(TIM4_IRQn, 0, 0);
  HAL_NVIC_EnableIRQ(TIM4_IRQn);
  /* USART6_IRQn interrupt configuration */
  HAL_NVIC_SetPriority(USART6_IRQn, 0, 0);
  HAL_NVIC_EnableIRQ(USART6_IRQn);
  /* USART3_IRQn interrupt configuration */
  HAL_NVIC_SetPriority(USART3_IRQn, 0, 0);
  HAL_NVIC_EnableIRQ(USART3_IRQn);
}

static void MX_ADC1_Init(void)
{

  ADC_ChannelConfTypeDef sConfig = {0};

  /** Configure the global features of the ADC (Clock, Resolution, Data Alignment and number of conversion)
  */
  hadc1.Instance = ADC1;
  hadc1.Init.ClockPrescaler = ADC_CLOCK_SYNC_PCLK_DIV4;
  hadc1.Init.Resolution = ADC_RESOLUTION_12B;
  hadc1.Init.ScanConvMode = DISABLE;
  hadc1.Init.ContinuousConvMode = DISABLE;
  hadc1.Init.DiscontinuousConvMode = DISABLE;
  hadc1.Init.ExternalTrigConvEdge = ADC_EXTERNALTRIGCONVEDGE_NONE;
  hadc1.Init.ExternalTrigConv = ADC_SOFTWARE_START;
  hadc1.Init.DataAlign = ADC_DATAALIGN_RIGHT;
  hadc1.Init.NbrOfConversion = 1;
  hadc1.Init.DMAContinuousRequests = DISABLE;
  hadc1.Init.EOCSelection = ADC_EOC_SINGLE_CONV;
  if (HAL_ADC_Init(&hadc1) != HAL_OK)
  {
    Error_Handler();
  }
  /** Configure for the selected ADC regular channel its corresponding rank in the sequencer and its sample time.
  */
  sConfig.Channel = ADC_CHANNEL_3;
  sConfig.Rank = 1;
  sConfig.SamplingTime = ADC_SAMPLETIME_3CYCLES;
  if (HAL_ADC_ConfigChannel(&hadc1, &sConfig) != HAL_OK)
  {
    Error_Handler();
  }

}

static void MX_I2C1_Init(void)
{

  hi2c1.Instance = I2C1;
  hi2c1.Init.ClockSpeed = 100000;
  hi2c1.Init.DutyCycle = I2C_DUTYCYCLE_2;
  hi2c1.Init.OwnAddress1 = 0;
  hi2c1.Init.AddressingMode = I2C_ADDRESSINGMODE_7BIT;
  hi2c1.Init.DualAddressMode = I2C_DUALADDRESS_DISABLE;
  hi2c1.Init.OwnAddress2 = 0;
  hi2c1.Init.GeneralCallMode = I2C_GENERALCALL_DISABLE;
  hi2c1.Init.NoStretchMode = I2C_NOSTRETCH_DISABLE;
  if (HAL_I2C_Init(&hi2c1) != HAL_OK)
  {
    Error_Handler();
  }
  /** Configure Analogue filter
  */
  if (HAL_I2CEx_ConfigAnalogFilter(&hi2c1, I2C_ANALOGFILTER_ENABLE) != HAL_OK)
  {
    Error_Handler();
  }
  /** Configure Digital filter
  */
  if (HAL_I2CEx_ConfigDigitalFilter(&hi2c1, 0) != HAL_OK)
  {
    Error_Handler();
  }

}

static void MX_RTC_Init(void)
{

  /** Initialize RTC Only
  */
  hrtc.Instance = RTC;
  hrtc.Init.HourFormat = RTC_HOURFORMAT_24;
  hrtc.Init.AsynchPrediv = 127;
  hrtc.Init.SynchPrediv = 255;
  hrtc.Init.OutPut = RTC_OUTPUT_DISABLE;
  hrtc.Init.OutPutPolarity = RTC_OUTPUT_POLARITY_HIGH;
  hrtc.Init.OutPutType = RTC_OUTPUT_TYPE_OPENDRAIN;
  if (HAL_RTC_Init(&hrtc) != HAL_OK)
  {
    Error_Handler();
  }

}

static void MX_TIM2_Init(void)
{

  TIM_ClockConfigTypeDef sClockSourceConfig = {0};
  TIM_MasterConfigTypeDef sMasterConfig = {0};

  htim2.Instance = TIM2;
  htim2.Init.Prescaler = 900;
  htim2.Init.CounterMode = TIM_COUNTERMODE_UP;
  htim2.Init.Period = 1000;
  htim2.Init.ClockDivision = TIM_CLOCKDIVISION_DIV1;
  htim2.Init.AutoReloadPreload = TIM_AUTORELOAD_PRELOAD_DISABLE;
  if (HAL_TIM_Base_Init(&htim2) != HAL_OK)
  {
    Error_Handler();
  }
  sClockSourceConfig.ClockSource = TIM_CLOCKSOURCE_INTERNAL;
  if (HAL_TIM_ConfigClockSource(&htim2, &sClockSourceConfig) != HAL_OK)
  {
    Error_Handler();
  }
  sMasterConfig.MasterOutputTrigger = TIM_TRGO_RESET;
  sMasterConfig.MasterSlaveMode = TIM_MASTERSLAVEMODE_DISABLE;
  if (HAL_TIMEx_MasterConfigSynchronization(&htim2, &sMasterConfig) != HAL_OK)
  {
    Error_Handler();
  }

}

static void MX_TIM3_Init(void)
{

  TIM_ClockConfigTypeDef sClockSourceConfig = {0};
  TIM_MasterConfigTypeDef sMasterConfig = {0};
  TIM_OC_InitTypeDef sConfigOC = {0};

  htim3.Instance = TIM3;
  htim3.Init.Prescaler = 90-1;
  htim3.Init.CounterMode = TIM_COUNTERMODE_UP;
  htim3.Init.Period = 200-1;
  htim3.Init.ClockDivision = TIM_CLOCKDIVISION_DIV1;
  htim3.Init.AutoReloadPreload = TIM_AUTORELOAD_PRELOAD_ENABLE;
  if (HAL_TIM_Base_Init(&htim3) != HAL_OK)
  {
    Error_Handler();
  }
  sClockSourceConfig.ClockSource = TIM_CLOCKSOURCE_INTERNAL;
  if (HAL_TIM_ConfigClockSource(&htim3, &sClockSourceConfig) != HAL_OK)
  {
    Error_Handler();
  }
  if (HAL_TIM_PWM_Init(&htim3) != HAL_OK)
  {
    Error_Handler();
  }
  sMasterConfig.MasterOutputTrigger = TIM_TRGO_RESET;
  sMasterConfig.MasterSlaveMode = TIM_MASTERSLAVEMODE_DISABLE;
  if (HAL_TIMEx_MasterConfigSynchronization(&htim3, &sMasterConfig) != HAL_OK)
  {
    Error_Handler();
  }
  sConfigOC.OCMode = TIM_OCMODE_PWM1;
  sConfigOC.Pulse = 0;
  sConfigOC.OCPolarity = TIM_OCPOLARITY_HIGH;
  sConfigOC.OCFastMode = TIM_OCFAST_DISABLE;
  if (HAL_TIM_PWM_ConfigChannel(&htim3, &sConfigOC, TIM_CHANNEL_2) != HAL_OK)
  {
    Error_Handler();
  }
  HAL_TIM_MspPostInit(&htim3);

}

static void MX_TIM4_Init(void)
{

  TIM_ClockConfigTypeDef sClockSourceConfig = {0};
  TIM_MasterConfigTypeDef sMasterConfig = {0};

  htim4.Instance = TIM4;
  htim4.Init.Prescaler = 9000;
  htim4.Init.CounterMode = TIM_COUNTERMODE_UP;
  htim4.Init.Period = 200;
  htim4.Init.ClockDivision = TIM_CLOCKDIVISION_DIV1;
  htim4.Init.AutoReloadPreload = TIM_AUTORELOAD_PRELOAD_DISABLE;
  if (HAL_TIM_Base_Init(&htim4) != HAL_OK)
  {
    Error_Handler();
  }
  sClockSourceConfig.ClockSource = TIM_CLOCKSOURCE_INTERNAL;
  if (HAL_TIM_ConfigClockSource(&htim4, &sClockSourceConfig) != HAL_OK)
  {
    Error_Handler();
  }
  sMasterConfig.MasterOutputTrigger = TIM_TRGO_RESET;
  sMasterConfig.MasterSlaveMode = TIM_MASTERSLAVEMODE_DISABLE;
  if (HAL_TIMEx_MasterConfigSynchronization(&htim4, &sMasterConfig) != HAL_OK)
  {
    Error_Handler();
  }

}

static void MX_USART3_UART_Init(void)
{

  huart3.Instance = USART3;
  huart3.Init.BaudRate = 115200;
  huart3.Init.WordLength = UART_WORDLENGTH_8B;
  huart3.Init.StopBits = UART_STOPBITS_1;
  huart3.Init.Parity = UART_PARITY_NONE;
  huart3.Init.Mode = UART_MODE_TX_RX;
  huart3.Init.HwFlowCtl = UART_HWCONTROL_NONE;
  huart3.Init.OverSampling = UART_OVERSAMPLING_16;
  if (HAL_UART_Init(&huart3) != HAL_OK)
  {
    Error_Handler();
  }

}

static void MX_USART6_UART_Init(void)
{

  huart6.Instance = USART6;
  huart6.Init.BaudRate = 115200;
  huart6.Init.WordLength = UART_WORDLENGTH_8B;
  huart6.Init.StopBits = UART_STOPBITS_1;
  huart6.Init.Parity = UART_PARITY_NONE;
  huart6.Init.Mode = UART_MODE_TX_RX;
  huart6.Init.HwFlowCtl = UART_HWCONTROL_NONE;
  huart6.Init.OverSampling = UART_OVERSAMPLING_16;
  if (HAL_UART_Init(&huart6) != HAL_OK)
  {
    Error_Handler();
  }

}

static void MX_GPIO_Init(void)
{
  GPIO_InitTypeDef GPIO_InitStruct = {0};

  /* GPIO Ports Clock Enable */
  __HAL_RCC_GPIOC_CLK_ENABLE();
  __HAL_RCC_GPIOH_CLK_ENABLE();
  __HAL_RCC_GPIOA_CLK_ENABLE();
  __HAL_RCC_GPIOB_CLK_ENABLE();
  __HAL_RCC_GPIOD_CLK_ENABLE();
  __HAL_RCC_GPIOG_CLK_ENABLE();

  /*Configure GPIO pin Output Level */
  HAL_GPIO_WritePin(GPIOB, LD3_Pin|LD2_Pin, GPIO_PIN_RESET);

  /*Configure GPIO pin Output Level */
  HAL_GPIO_WritePin(USB_PowerSwitchOn_GPIO_Port, USB_PowerSwitchOn_Pin, GPIO_PIN_RESET);

  /*Configure GPIO pin : USER_Btn_Pin */
  GPIO_InitStruct.Pin = USER_Btn_Pin;
  GPIO_InitStruct.Mode = GPIO_MODE_IT_RISING_FALLING;
  GPIO_InitStruct.Pull = GPIO_NOPULL;
  HAL_GPIO_Init(USER_Btn_GPIO_Port, &GPIO_InitStruct);

  /*Configure GPIO pins : RMII_MDC_Pin RMII_RXD0_Pin RMII_RXD1_Pin */
  GPIO_InitStruct.Pin = RMII_MDC_Pin|RMII_RXD0_Pin|RMII_RXD1_Pin;
  GPIO_InitStruct.Mode = GPIO_MODE_AF_PP;
  GPIO_InitStruct.Pull = GPIO_NOPULL;
  GPIO_InitStruct.Speed = GPIO_SPEED_FREQ_VERY_HIGH;
  GPIO_InitStruct.Alternate = GPIO_AF11_ETH;
  HAL_GPIO_Init(GPIOC, &GPIO_InitStruct);

  /*Configure GPIO pins : RMII_REF_CLK_Pin RMII_MDIO_Pin */
  GPIO_InitStruct.Pin = RMII_REF_CLK_Pin|RMII_MDIO_Pin;
  GPIO_InitStruct.Mode = GPIO_MODE_AF_PP;
  GPIO_InitStruct.Pull = GPIO_NOPULL;
  GPIO_InitStruct.Speed = GPIO_SPEED_FREQ_VERY_HIGH;
  GPIO_InitStruct.Alternate = GPIO_AF11_ETH;
  HAL_GPIO_Init(GPIOA, &GPIO_InitStruct);

  /*Configure GPIO pin : RMII_TXD1_Pin */
  GPIO_InitStruct.Pin = RMII_TXD1_Pin;
  GPIO_InitStruct.Mode = GPIO_MODE_AF_PP;
  GPIO_InitStruct.Pull = GPIO_NOPULL;
  GPIO_InitStruct.Speed = GPIO_SPEED_FREQ_VERY_HIGH;
  GPIO_InitStruct.Alternate = GPIO_AF11_ETH;
  HAL_GPIO_Init(RMII_TXD1_GPIO_Port, &GPIO_InitStruct);

  /*Configure GPIO pins : LD3_Pin LD2_Pin */
  GPIO_InitStruct.Pin = LD3_Pin|LD2_Pin;
  GPIO_InitStruct.Mode = GPIO_MODE_OUTPUT_PP;
  GPIO_InitStruct.Pull = GPIO_NOPULL;
  GPIO_InitStruct.Speed = GPIO_SPEED_FREQ_LOW;
  HAL_GPIO_Init(GPIOB, &GPIO_InitStruct);

  /*Configure GPIO pin : USB_PowerSwitchOn_Pin */
  GPIO_InitStruct.Pin = USB_PowerSwitchOn_Pin;
  GPIO_InitStruct.Mode = GPIO_MODE_OUTPUT_PP;
  GPIO_InitStruct.Pull = GPIO_NOPULL;
  GPIO_InitStruct.Speed = GPIO_SPEED_FREQ_LOW;
  HAL_GPIO_Init(USB_PowerSwitchOn_GPIO_Port, &GPIO_InitStruct);

  /*Configure GPIO pin : USB_OverCurrent_Pin */
  GPIO_InitStruct.Pin = USB_OverCurrent_Pin;
  GPIO_InitStruct.Mode = GPIO_MODE_INPUT;
  GPIO_InitStruct.Pull = GPIO_NOPULL;
  HAL_GPIO_Init(USB_OverCurrent_GPIO_Port, &GPIO_InitStruct);

  /*Configure GPIO pins : USB_SOF_Pin USB_ID_Pin USB_DM_Pin USB_DP_Pin */
  GPIO_InitStruct.Pin = USB_SOF_Pin|USB_ID_Pin|USB_DM_Pin|USB_DP_Pin;
  GPIO_InitStruct.Mode = GPIO_MODE_AF_PP;
  GPIO_InitStruct.Pull = GPIO_NOPULL;
  GPIO_InitStruct.Speed = GPIO_SPEED_FREQ_VERY_HIGH;
  GPIO_InitStruct.Alternate = GPIO_AF10_OTG_FS;
  HAL_GPIO_Init(GPIOA, &GPIO_InitStruct);

  /*Configure GPIO pin : USB_VBUS_Pin */
  GPIO_InitStruct.Pin = USB_VBUS_Pin;
  GPIO_InitStruct.Mode = GPIO_MODE_INPUT;
  GPIO_InitStruct.Pull = GPIO_NOPULL;
  HAL_GPIO_Init(USB_VBUS_GPIO_Port, &GPIO_InitStruct);

  /*Configure GPIO pins : RMII_TX_EN_Pin RMII_TXD0_Pin */
  GPIO_InitStruct.Pin = RMII_TX_EN_Pin|RMII_TXD0_Pin;
  GPIO_InitStruct.Mode = GPIO_MODE_AF_PP;
  GPIO_InitStruct.Pull = GPIO_NOPULL;
  GPIO_InitStruct.Speed = GPIO_SPEED_FREQ_VERY_HIGH;
  GPIO_InitStruct.Alternate = GPIO_AF11_ETH;
  HAL_GPIO_Init(GPIOG, &GPIO_InitStruct);

}

/* USER CODE BEGIN 4 */
PUTCHAR_PROTOTYPE
{
  /* Place your implementation of fputc here */
  /* e.g. write a character to the EVAL_COM1 and Loop until the end of transmission */
  HAL_UART_Transmit(&huart3, (uint8_t *)&ch, 1, 0xFFFF);

  return ch;
}
/* USER CODE END 4 */

void Error_Handler(void)
{
  __disable_irq();
  while (1)
  {
  }
}
